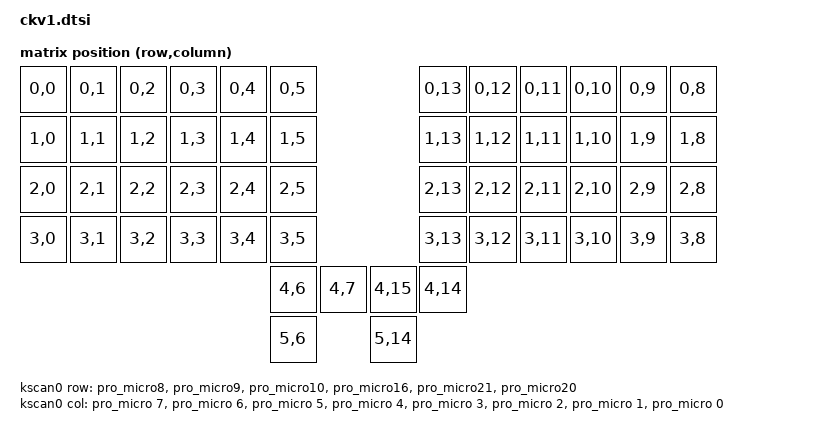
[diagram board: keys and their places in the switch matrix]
#include <dt-bindings/zmk/matrix_transform.h>

/ {
	chosen {
		zmk,kscan = &kscan0;
		zmk,matrix_transform = &default_transform;
	};

	default_transform: keymap_transform_0 {
		compatible = "zmk,matrix-transform";
		columns = <16>;
		rows = <6>;
// | SW1  | SW6  | SW11 | SW16 | SW21 | SW26 |      |      | |      |      | SW26 | SW21 | SW16 | SW11 | SW6  | SW1  |
// | SW2  | SW7  | SW12 | SW17 | SW22 | SW27 |      |      | |      |      | SW27 | SW22 | SW17 | SW12 | SW7  | SW2  |
// | SW3  | SW8  | SW13 | SW18 | SW23 | SW28 |      |      | |      |      | SW28 | SW23 | SW18 | SW13 | SW8  | SW3  |
// | SW4  | SW9  | SW14 | SW19 | SW24 | SW29 |      |      | |      |      | SW29 | SW24 | SW19 | SW14 | SW9  | SW4  |
// |      |      |      |      |      |      |  SW5 | SW10 | |  SW5 | SW10 |      |      |      |      |      |      |
// |      |      |      |      |      |      | SW15 |      | |      | SW15 |      |      |      |      |      |      |
		map = <
RC(0,0) RC(0,1) RC(0,2) RC(0,3) RC(0,4) RC(0,5)                                             RC(0,13) RC(0,12) RC(0,11) RC(0,10) RC(0,9) RC(0,8)
RC(1,0) RC(1,1) RC(1,2) RC(1,3) RC(1,4) RC(1,5)                                             RC(1,13) RC(1,12) RC(1,11) RC(1,10) RC(1,9) RC(1,8)
RC(2,0) RC(2,1) RC(2,2) RC(2,3) RC(2,4) RC(2,5)                                             RC(2,13) RC(2,12) RC(2,11) RC(2,10) RC(2,9) RC(2,8)
RC(3,0) RC(3,1) RC(3,2) RC(3,3) RC(3,4) RC(3,5)                                             RC(3,13) RC(3,12) RC(3,11) RC(3,10) RC(3,9) RC(3,8)
                                                RC(4,6) RC(4,7)  RC(4,15) RC(4,14)
                                                RC(5,6)                   RC(5,14)
		>;
  };

	kscan0: kscan {
		compatible = "zmk,kscan-gpio-matrix";
    diode-direction = "col2row";
        wakeup-source;
		label = "KSCAN";

    row-gpios = 
           <&pro_micro8  GPIO_ACTIVE_HIGH>   // Num (P1.04)
         , <&pro_micro9  GPIO_ACTIVE_HIGH>   // Top (P1.06)
         , <&pro_micro10 GPIO_ACTIVE_HIGH>   // Home (P0.09)
         , <&pro_micro16 GPIO_ACTIVE_HIGH>  // Bottom (P0.10)
         , <&pro_micro21 GPIO_ACTIVE_HIGH>  // Cluster (P0.31)
         , <&pro_micro20 GPIO_ACTIVE_HIGH>  // Fn (P0.29)
         ;
  
		col-gpios = 
            <&pro_micro 7 (GPIO_ACTIVE_HIGH | GPIO_PULL_DOWN)>  // Outer (P0.11)
          , <&pro_micro 6 (GPIO_ACTIVE_HIGH | GPIO_PULL_DOWN)>   // Pinky (P1.00)
          , <&pro_micro 5 (GPIO_ACTIVE_HIGH | GPIO_PULL_DOWN)>  // Ring (P0.24)
          , <&pro_micro 4 (GPIO_ACTIVE_HIGH | GPIO_PULL_DOWN)>  // Middle (P0.22)
          , <&pro_micro 3 (GPIO_ACTIVE_HIGH | GPIO_PULL_DOWN)>  // Index (P0.20)
          , <&pro_micro 2 (GPIO_ACTIVE_HIGH | GPIO_PULL_DOWN)>  // Inner (P0.17)
          , <&pro_micro 1 (GPIO_ACTIVE_HIGH | GPIO_PULL_DOWN)>   // Thumb Layer (P0.08)
          , <&pro_micro 0 (GPIO_ACTIVE_HIGH | GPIO_PULL_DOWN)>   // Thumb Space (P0.06)
           ;
    };
};
